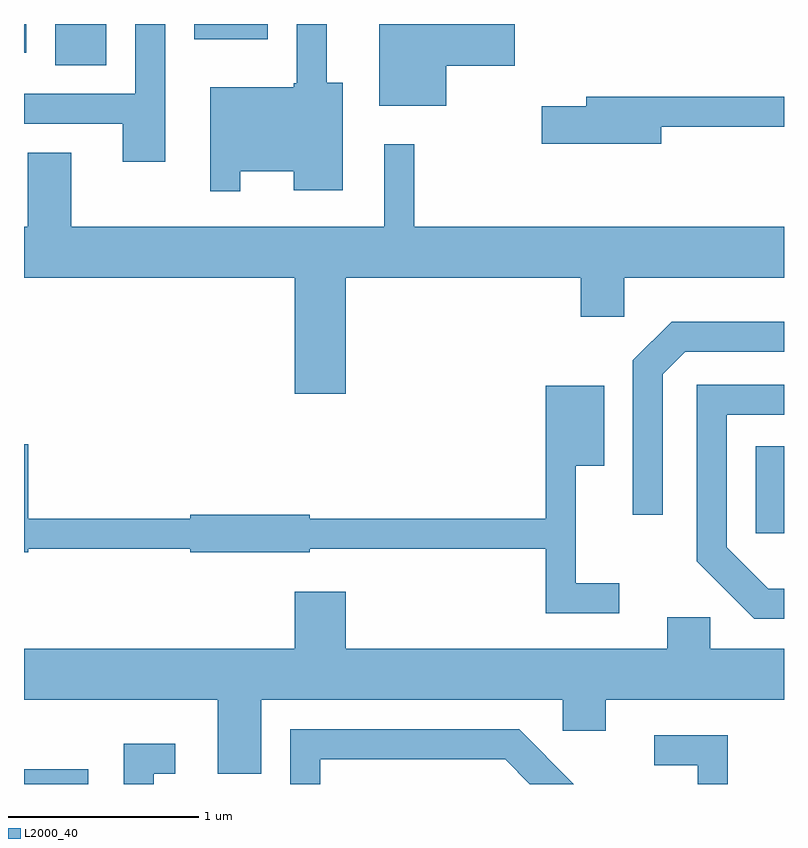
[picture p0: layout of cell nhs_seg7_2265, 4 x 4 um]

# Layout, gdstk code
import gdstk
lib = gdstk.Library(unit=1e-6, precision=1e-09)
def R(c, l, rs):  # rectangles x0, y0, x1, y1
    for r in rs: c.add(gdstk.rectangle(r[:2], r[2:], *l))
def P(c, l, *ps):  # polygons
    for p in ps: c.add(gdstk.Polygon(p, *l))
L2000_40 = (2000, 40)

nhs_seg7_2265 = lib.new_cell('nhs_seg7_2265')
R(nhs_seg7_2265, L2000_40, [(253.611,1778.252,253.949,1778.329), (257.461,1779.571,257.611,1780.029), (253.776,1782.036,254.044,1782.252), (253.611,1782.101,253.624,1782.252), (254.506,1782.171,254.894,1782.252)])
P(nhs_seg7_2265, L2000_40, [(255.834,1782.031),(256.194,1782.031),(256.194,1782.252),(255.481,1782.252),(255.481,1781.821),(255.834,1781.821)],
  [(254.749,1781.476),(255.031,1781.476),(255.031,1781.376),(255.289,1781.376),(255.289,1781.944),(255.204,1781.944),(255.204,1782.252),(255.046,1782.252),(255.046,1781.94),(255.031,1781.94),(255.031,1781.919),(254.591,1781.919),(254.591,1781.373),(254.749,1781.373)],
  [(254.354,1782.252),(254.196,1782.252),(254.196,1781.884),(253.611,1781.884),(253.611,1781.726),(254.131,1781.726),(254.131,1781.526),(254.354,1781.526)],
  [(256.964,1781.711),(257.611,1781.711),(257.611,1781.869),(256.571,1781.869),(256.571,1781.819),(256.336,1781.819),(256.336,1781.621),(256.964,1781.621)],
  [(255.304,1780.916),(256.541,1780.916),(256.541,1780.711),(256.769,1780.711),(256.769,1780.916),(257.611,1780.916),(257.611,1781.184),(255.664,1781.184),(255.664,1781.618),(255.506,1781.618),(255.506,1781.184),(253.859,1781.184),(253.859,1781.574),(253.631,1781.574),(253.631,1781.184),(253.611,1781.184),(253.611,1780.916),(255.036,1780.916),(255.036,1780.306),(255.304,1780.306)],
  [(256.974,1780.409),(257.092,1780.526),(257.611,1780.526),(257.611,1780.684),(257.019,1780.684),(256.816,1780.482),(256.816,1779.668),(256.974,1779.668)],
  [(257.611,1779.279),(257.527,1779.279),(257.309,1779.497),(257.309,1780.196),(257.611,1780.196),(257.611,1780.354),(257.151,1780.354),(257.151,1779.424),(257.454,1779.121),(257.611,1779.121)],
  [(256.743,1779.309),(256.514,1779.309),(256.514,1779.926),(256.664,1779.926),(256.664,1780.349),(256.356,1780.349),(256.356,1779.649),(255.114,1779.649),(255.114,1779.669),(254.486,1779.669),(254.486,1779.649),(253.634,1779.649),(253.634,1780.039),(253.611,1780.039),(253.611,1779.471),(253.634,1779.471),(253.634,1779.491),(254.486,1779.491),(254.486,1779.471),(255.114,1779.471),(255.114,1779.491),(256.356,1779.491),(256.356,1779.151),(256.743,1779.151)],
  [(254.859,1778.696),(256.446,1778.696),(256.446,1778.531),(256.674,1778.531),(256.674,1778.696),(257.611,1778.696),(257.611,1778.964),(257.224,1778.964),(257.224,1779.129),(256.996,1779.129),(256.996,1778.964),(255.304,1778.964),(255.304,1779.264),(255.036,1779.264),(255.036,1778.964),(253.611,1778.964),(253.611,1778.696),(254.631,1778.696),(254.631,1778.306),(254.859,1778.306)],
  [(255.169,1778.381),(256.144,1778.381),(256.273,1778.252),(256.504,1778.252),(256.217,1778.539),(255.011,1778.539),(255.011,1778.252),(255.169,1778.252)],
  [(257.314,1778.509),(256.928,1778.509),(256.928,1778.351),(257.156,1778.351),(257.156,1778.252),(257.314,1778.252)],
  [(254.294,1778.306),(254.408,1778.306),(254.408,1778.464),(254.136,1778.464),(254.136,1778.252),(254.294,1778.252)])

lib.write_gds('nhs_seg7_2265.gds')
